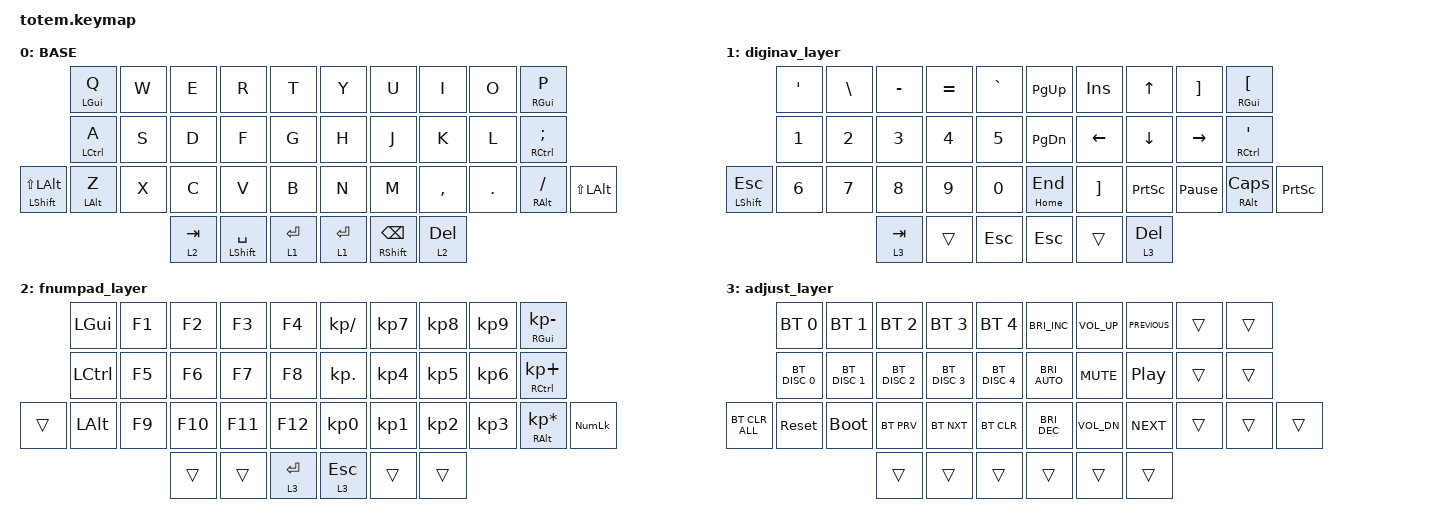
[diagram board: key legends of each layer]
//
//                                                        ▀▀▀▀▀     ▀▀▀▀▀          ▀▀█▀▀
//                                                        ▄▀▀▀▄  ▄  ▄▀▀▀▄  ▄  ▄▀▀▀▄  █  ▄▀▀▀▄
//                                                        █   █  █  █   █  █  █   █  █  █   █
//                                                         ▀▀▀   █   ▀▀▀   █   ▀▀▀   ▀   ▀▀▀
//                                                               █      ▄▄▄█▄▄▄    █   █  
//                                                               ▀      █  █  █     █▄█
//                                                             ▀▀▀▀▀    █  █  █      ▀
//                                                                      ▀  ▀  ▀
//
// ▄▄▄▄▄▄▄▄▄▄▄▄▄▄▄▄▄▄▄▄▄▄▄▄▄▄▄▄▄▄▄▄▄▄▄▄▄▄▄▄▄▄▄▄▄▄▄▄▄▄▄▄▄▄▄▄▄▄▄▄▄▄▄▄▄▄▄▄▄▄▄▄▄▄▄▄▄▄▄▄▄▄▄▄▄▄▄▄▄▄▄▄▄▄▄▄▄▄▄▄▄▄▄▄▄▄▄▄▄▄▄▄▄▄▄▄▄▄▄▄▄▄▄▄▄▄▄▄▄▄▄▄▄▄▄▄▄▄▄▄▄▄▄▄▄▄▄▄▄

#include <behaviors.dtsi>
#include <dt-bindings/zmk/bt.h>
#include <dt-bindings/zmk/keys.h>

#define BASE 0
#define NAV  1
#define SYM  2
#define ADJ  3
#define TVP1 4
#define TVP2 5

&mt {
    quick-tap-ms = <150>;
    global-quick-tap;
    flavor = "tap-preferred";
    tapping-term-ms = <250>;
};

/ {
    combos {
        compatible = "zmk,combos";

        rus_he {
            bindings = <&kp LEFT_BRACKET>;
            key-positions = <9 8>;
        };

        rus_ie {
            bindings = <&kp SQT>;
            key-positions = <18 19>;
        };

        rus_hard {
            bindings = <&kp RIGHT_BRACKET>;
            key-positions = <27 28>;
        };

        rus_io {
            bindings = <&kp GRAVE>;
            key-positions = <4 3>;
        };

        ios_lang {
            bindings = <&kp LC(SPACE)>;
            key-positions = <3 2 1>;
        };

        DFG {
            bindings = <&kp LS(LEFT_ALT)>;
            key-positions = <12 13 11>;
        };
    };

    keymap {
        compatible = "zmk,keymap";

        // ▄▄▄▄▄▄▄▄▄▄▄▄▄▄▄▄▄▄▄▄▄▄▄▄▄▄▄▄▄▄▄▄▄▄▄▄▄▄▄▄▄▄▄▄▄▄▄▄▄▄▄▄▄▄▄▄▄▄▄▄▄▄▄▄▄▄▄▄▄▄▄▄▄▄▄▄▄▄▄▄▄▄▄▄▄▄▄▄▄▄▄▄▄▄▄▄▄▄▄▄▄▄▄▄▄▄▄▄▄▄▄▄▄▄▄▄▄▄▄▄▄▄▄▄▄▄▄▄▄▄▄▄▄▄▄▄▄▄▄▄▄▄▄▄▄▄▄▄▄

        base_layer {
            // ┏━━━━━━━━━━━━━━━━━━━━━━━━━━━━━━━━━━━━━━━┓

            label = "BASE";

            // ┗━━━━━━━━━━━━━━━━━━━━━━━━━━━━━━━━━━━━━━━┛
            //             ┏━━━━━━━━━━━┳━━━━━━━━━━━┳━━━━━━━━━━━┳━━━━━━━━━━━┳━━━━━━━━━━━┓   ┏━━━━━━━━━━━┳━━━━━━━━━━━┳━━━━━━━━━━━┳━━━━━━━━━━━┳━━━━━━━━━━━┓
            //             ┃     Q     ┃     W     ┃     F     ┃     P     ┃     G     ┃   ┃     J     ┃     L     ┃     U     ┃     Y     ┃     ;     ┃
            //             ┣━━━━━━━━━━━╋━━━━━━━━━━━╋━━━━━━━━━━━╋━━━━━━━━━━━╋━━━━━━━━━━━┫   ┣━━━━━━━━━━━╋━━━━━━━━━━━╋━━━━━━━━━━━╋━━━━━━━━━━━╋━━━━━━━━━━━┫
            //             ┃     A     ┃     R     ┃     S     ┃     T     ┃     D     ┃   ┃     H     ┃     N     ┃     E     ┃     I     ┃     O     ┃
            // ┏━━━━━━━━━━━╋━━━━━━━━━━━╋━━━━━━━━━━━╋━━━━━━━━━━━╋━━━━━━━━━━━╋━━━━━━━━━━━┫   ┣━━━━━━━━━━━╋━━━━━━━━━━━╋━━━━━━━━━━━╋━━━━━━━━━━━╋━━━━━━━━━━━╋━━━━━━━━━━━┓
            // ┃     Q     ┃     Z     ┃     X     ┃     C     ┃     V     ┃     B     ┃   ┃     K     ┃     M     ┃     ,     ┃     .     ┃     /     ┃     \     ┃
            // ┗━━━━━━━━━━━┻━━━━━━━━━━━┻━━━━━━━━━━━╋━━━━━━━━━━━╋━━━━━━━━━━━╋━━━━━━━━━━━┫   ┣━━━━━━━━━━━╋━━━━━━━━━━━╋━━━━━━━━━━━╋━━━━━━━━━━━┻━━━━━━━━━━━┻━━━━━━━━━━━┛
            //                                     ┃    DEL    ┃    TAB    ┃    SPC    ┃   ┃   ENTER   ┃           ┃   BSPC    ┃
            //                                     ┗━━━━━━━━━━━┻━━━━━━━━━━━┻━━━━━━━━━━━┛   ┗━━━━━━━━━━━┻━━━━━━━━━━━┻━━━━━━━━━━━┛

            bindings = <
                             &mt LEFT_GUI Q  &kp W  &kp E      &kp R                 &kp T          &kp Y        &kp U                      &kp I         &kp O    &mt RIGHT_GUI P
                             &mt LCTRL A     &kp S  &kp D      &kp F                 &kp G          &kp H        &kp J                      &kp K         &kp L    &mt RCTRL SEMICOLON
&mt LEFT_SHIFT LS(LEFT_ALT)  &mt LEFT_ALT Z  &kp X  &kp C      &kp V                 &kp B          &kp N        &kp M                      &kp COMMA     &kp DOT  &mt RIGHT_ALT SLASH  &kp LS(LEFT_ALT)
                                                    &lt 2 TAB  &mt LEFT_SHIFT SPACE  &lt 1 ENTER    &lt 1 ENTER  &mt RIGHT_SHIFT BACKSPACE  &lt 2 DELETE
            >;
        };

        // ▄▄▄▄▄▄▄▄▄▄▄▄▄▄▄▄▄▄▄▄▄▄▄▄▄▄▄▄▄▄▄▄▄▄▄▄▄▄▄▄▄▄▄▄▄▄▄▄▄▄▄▄▄▄▄▄▄▄▄▄▄▄▄▄▄▄▄▄▄▄▄▄▄▄▄▄▄▄▄▄▄▄▄▄▄▄▄▄▄▄▄▄▄▄▄▄▄▄▄▄▄▄▄▄▄▄▄▄▄▄▄▄▄▄▄▄▄▄▄▄▄▄▄▄▄▄▄▄▄▄▄▄▄▄▄▄▄▄▄▄▄▄▄▄▄▄▄▄▄
        // ▄▄▄▄▄▄▄▄▄▄▄▄▄▄▄▄▄▄▄▄▄▄▄▄▄▄▄▄▄▄▄▄▄▄▄▄▄▄▄▄▄▄▄▄▄▄▄▄▄▄▄▄▄▄▄▄▄▄▄▄▄▄▄▄▄▄▄▄▄▄▄▄▄▄▄▄▄▄▄▄▄▄▄▄▄▄▄▄▄▄▄▄▄▄▄▄▄▄▄▄▄▄▄▄▄▄▄▄▄▄▄▄▄▄▄▄▄▄▄▄▄▄▄▄▄▄▄▄▄▄▄▄▄▄▄▄▄▄▄▄▄▄▄▄▄▄▄▄▄
        // ▄▄▄▄▄▄▄▄▄▄▄▄▄▄▄▄▄▄▄▄▄▄▄▄▄▄▄▄▄▄▄▄▄▄▄▄▄▄▄▄▄▄▄▄▄▄▄▄▄▄▄▄▄▄▄▄▄▄▄▄▄▄▄▄▄▄▄▄▄▄▄▄▄▄▄▄▄▄▄▄▄▄▄▄▄▄▄▄▄▄▄▄▄▄▄▄▄▄▄▄▄▄▄▄▄▄▄▄▄▄▄▄▄▄▄▄▄▄▄▄▄▄▄▄▄▄▄▄▄▄▄▄▄▄▄▄▄▄▄▄▄▄▄▄▄▄▄▄▄
        // ▄▄▄▄▄▄▄▄▄▄▄▄▄▄▄▄▄▄▄▄▄▄▄▄▄▄▄▄▄▄▄▄▄▄▄▄▄▄▄▄▄▄▄▄▄▄▄▄▄▄▄▄▄▄▄▄▄▄▄▄▄▄▄▄▄▄▄▄▄▄▄▄▄▄▄▄▄▄▄▄▄▄▄▄▄▄▄▄▄▄▄▄▄▄▄▄▄▄▄▄▄▄▄▄▄▄▄▄▄▄▄▄▄▄▄▄▄▄▄▄▄▄▄▄▄▄▄▄▄▄▄▄▄▄▄▄▄▄▄▄▄▄▄▄▄▄▄▄▄
        // ▄▄▄▄▄▄▄▄▄▄▄▄▄▄▄▄▄▄▄▄▄▄▄▄▄▄▄▄▄▄▄▄▄▄▄▄▄▄▄▄▄▄▄▄▄▄▄▄▄▄▄▄▄▄▄▄▄▄▄▄▄▄▄▄▄▄▄▄▄▄▄▄▄▄▄▄▄▄▄▄▄▄▄▄▄▄▄▄▄▄▄▄▄▄▄▄▄▄▄▄▄▄▄▄▄▄▄▄▄▄▄▄▄▄▄▄▄▄▄▄▄▄▄▄▄▄▄▄▄▄▄▄▄▄▄▄▄▄▄▄▄▄▄▄▄▄▄▄▄

        diginav_layer {
            bindings = <
                       &kp APOSTROPHE  &kp BACKSLASH  &kp MINUS     &kp EQUAL     &kp GRAVE       &kp PG_UP     &kp INS            &kp UP_ARROW     &kp RIGHT_BRACKET  &mt RIGHT_GUI LEFT_BRACKET
                       &kp NUMBER_1    &kp NUMBER_2   &kp NUMBER_3  &kp NUMBER_4  &kp NUMBER_5    &kp PG_DN     &kp LEFT           &kp DOWN         &kp RIGHT          &mt RCTRL SQT
&mt LEFT_SHIFT ESCAPE  &kp NUMBER_6    &kp NUMBER_7   &kp NUMBER_8  &kp NUMBER_9  &kp NUMBER_0    &mt HOME END  &kp RIGHT_BRACKET  &kp PRINTSCREEN  &kp PAUSE_BREAK    &mt RIGHT_ALT CAPSLOCK      &kp PRINTSCREEN
                                                      &lt 3 TAB     &trans        &kp ESCAPE      &kp ESCAPE    &trans             &lt 3 DELETE
            >;
        };

        fnumpad_layer {
            bindings = <
        &kp LEFT_GUI      &kp F1  &kp F2   &kp F3   &kp F4         &kp KP_SLASH  &kp KP_NUMBER_7  &kp KP_NUMBER_8  &kp KP_NUMBER_9  &mt RGUI KP_MINUS
        &kp LEFT_CONTROL  &kp F5  &kp F6   &kp F7   &kp F8         &kp KP_DOT    &kp KP_NUMBER_4  &kp KP_NUMBER_5  &kp KP_NUMBER_6  &mt RCTRL KP_PLUS
&trans  &kp LEFT_ALT      &kp F9  &kp F10  &kp F11  &kp F12        &kp KP_N0     &kp KP_NUMBER_1  &kp KP_NUMBER_2  &kp KP_NUMBER_3  &mt RIGHT_ALT KP_MULTIPLY  &kp KP_NUMLOCK
                                  &trans   &trans   &lt 3 ENTER    &lt 3 ESCAPE  &trans           &trans
            >;
        };

        adjust_layer {
            bindings = <
                &bt BT_SEL 0   &bt BT_SEL 1   &bt BT_SEL 2   &bt BT_SEL 3   &bt BT_SEL 4     &kp C_BRIGHTNESS_INC  &kp C_VOLUME_UP  &kp C_PREVIOUS    &trans  &trans
                &bt BT_DISC 0  &bt BT_DISC 1  &bt BT_DISC 2  &bt BT_DISC 3  &bt BT_DISC 4    &kp C_BRI_AUTO        &kp C_MUTE       &kp C_PLAY_PAUSE  &trans  &trans
&bt BT_CLR_ALL  &sys_reset     &bootloader    &bt BT_PRV     &bt BT_NXT     &bt BT_CLR       &kp C_BRIGHTNESS_DEC  &kp C_VOL_DN     &kp C_NEXT        &trans  &trans  &trans
                                              &trans         &trans         &trans           &trans                &trans           &trans
            >;
        };
    };
};
